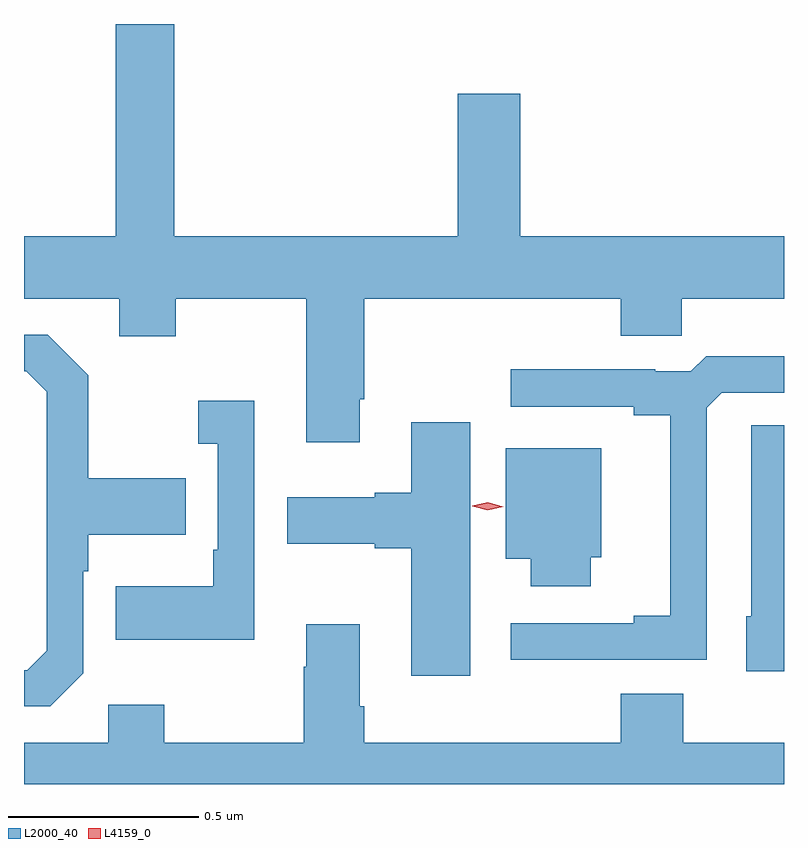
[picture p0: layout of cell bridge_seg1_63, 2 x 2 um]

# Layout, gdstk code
import gdstk
lib = gdstk.Library(unit=1e-6, precision=1e-09)
def P(c, l, *ps):  # polygons
    for p in ps: c.add(gdstk.Polygon(p, *l))
L2000_40 = (2000, 40)
L4159_0 = (4159, 0)

bridge_seg1_63 = lib.new_cell('bridge_seg1_63')
P(bridge_seg1_63, L2000_40, [(596.317,559.459),(596.33,559.459),(596.33,559.724),(597.005,559.724),(597.005,559.626),(597.165,559.626),(597.165,559.724),(597.434,559.724),(597.434,559.888),(596.74,559.888),(596.74,560.263),(596.576,560.263),(596.576,559.888),(595.829,559.888),(595.829,560.447),(595.676,560.447),(595.676,559.888),(595.434,559.888),(595.434,559.724),(595.685,559.724),(595.685,559.625),(595.833,559.625),(595.833,559.724),(596.177,559.724),(596.177,559.347),(596.317,559.347)],
  [(595.59,558.738),(595.59,559.007),(595.603,559.007),(595.603,559.103),(595.859,559.103),(595.859,559.251),(595.603,559.251),(595.603,559.523),(595.497,559.629),(595.434,559.629),(595.434,559.533),(595.44,559.533),(595.494,559.479),(595.494,558.798),(595.443,558.747),(595.434,558.747),(595.434,558.651),(595.503,558.651)],
  [(597.231,559.437),(597.27,559.476),(597.434,559.476),(597.434,559.573),(597.229,559.573),(597.189,559.533),(597.095,559.533),(597.095,559.538),(596.715,559.538),(596.715,559.44),(597.038,559.44),(597.038,559.418),(597.134,559.418),(597.134,558.89),(597.038,558.89),(597.038,558.87),(596.715,558.87),(596.715,558.774),(597.231,558.774)],
  [(596.04,559.456),(595.893,559.456),(595.893,559.343),(595.944,559.343),(595.944,559.063),(595.932,559.063),(595.932,558.967),(595.675,558.967),(595.675,558.827),(596.04,558.827)],
  [(596.608,559.399),(596.453,559.399),(596.453,559.214),(596.357,559.214),(596.357,559.201),(596.127,559.201),(596.127,559.079),(596.357,559.079),(596.357,559.067),(596.453,559.067),(596.453,558.732),(596.608,558.732)],
  [(597.434,559.391),(597.348,559.391),(597.348,558.888),(597.335,558.888),(597.335,558.744),(597.434,558.744)],
  [(596.926,559.044),(596.953,559.044),(596.953,559.33),(596.702,559.33),(596.702,559.04),(596.768,559.04),(596.768,558.968),(596.926,558.968)],
  [(597.434,558.556),(597.169,558.556),(597.169,558.685),(597.005,558.685),(597.005,558.556),(596.33,558.556),(596.33,558.652),(596.317,558.652),(596.317,558.868),(596.177,558.868),(596.177,558.755),(596.17,558.755),(596.17,558.556),(595.803,558.556),(595.803,558.655),(595.656,558.655),(595.656,558.556),(595.434,558.556),(595.434,558.447),(597.434,558.447)])
P(bridge_seg1_63, L4159_0, [(596.654,559.168),(596.614,559.178),(596.614,559.178),(596.614,559.179),(596.655,559.188),(596.695,559.177),(596.695,559.177),(596.695,559.177)])

lib.write_gds('bridge_seg1_63.gds')
